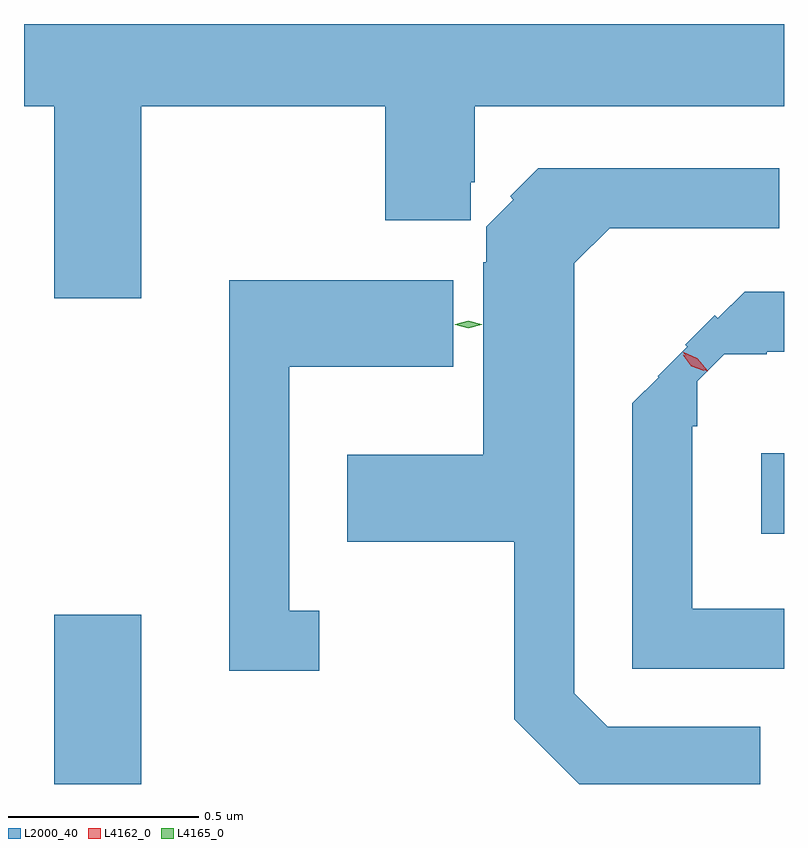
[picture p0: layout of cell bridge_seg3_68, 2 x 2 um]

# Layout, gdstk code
import gdstk
lib = gdstk.Library(unit=1e-6, precision=1e-09)
def R(c, l, rs):  # rectangles x0, y0, x1, y1
    for r in rs: c.add(gdstk.rectangle(r[:2], r[2:], *l))
def P(c, l, *ps):  # polygons
    for p in ps: c.add(gdstk.Polygon(p, *l))
L2000_40 = (2000, 40)
L4162_0 = (4162, 0)
L4165_0 = (4165, 0)

bridge_seg3_68 = lib.new_cell('bridge_seg3_68')
R(bridge_seg3_68, L2000_40, [(1138.561,1181.953,1138.789,1182.399), (1140.421,1182.611,1140.481,1182.824)])
P(bridge_seg3_68, L2000_40, [(1138.789,1183.736),(1139.431,1183.736),(1139.431,1183.437),(1139.657,1183.437),(1139.657,1183.537),(1139.667,1183.537),(1139.667,1183.736),(1140.481,1183.736),(1140.481,1183.953),(1138.481,1183.953),(1138.481,1183.736),(1138.561,1183.736),(1138.561,1183.231),(1138.789,1183.231)],
  [(1140.418,1182.104),(1140.017,1182.104),(1139.929,1182.192),(1139.929,1183.324),(1140.022,1183.416),(1140.468,1183.416),(1140.468,1183.574),(1139.834,1183.574),(1139.76,1183.5),(1139.769,1183.491),(1139.698,1183.42),(1139.698,1183.326),(1139.69,1183.326),(1139.69,1182.819),(1139.331,1182.819),(1139.331,1182.591),(1139.771,1182.591),(1139.771,1182.124),(1139.942,1181.953),(1140.418,1181.953)],
  [(1139.258,1182.409),(1139.179,1182.409),(1139.179,1183.051),(1139.61,1183.051),(1139.61,1183.279),(1139.021,1183.279),(1139.021,1182.251),(1139.258,1182.251)],
  [(1140.481,1182.414),(1140.239,1182.414),(1140.239,1182.895),(1140.253,1182.895),(1140.253,1183.013),(1140.324,1183.084),(1140.435,1183.084),(1140.435,1183.091),(1140.481,1183.091),(1140.481,1183.249),(1140.378,1183.249),(1140.307,1183.179),(1140.299,1183.187),(1140.221,1183.109),(1140.227,1183.104),(1140.149,1183.026),(1140.151,1183.024),(1140.081,1182.955),(1140.081,1182.256),(1140.481,1182.256)])
P(bridge_seg3_68, L4162_0, [(1140.279,1183.039),(1140.241,1183.057),(1140.214,1183.09),(1140.214,1183.091),(1140.215,1183.091),(1140.253,1183.073),(1140.28,1183.04),(1140.28,1183.039)],
  [(1140.27,1183.04),(1140.237,1183.053),(1140.216,1183.081),(1140.216,1183.082),(1140.216,1183.082),(1140.25,1183.068),(1140.271,1183.04),(1140.271,1183.04)])
P(bridge_seg3_68, L4165_0, [(1139.65,1183.152),(1139.616,1183.162),(1139.615,1183.162),(1139.616,1183.163),(1139.65,1183.172),(1139.685,1183.163),(1139.686,1183.162),(1139.685,1183.162)],
  [(1139.65,1183.152),(1139.618,1183.162),(1139.617,1183.162),(1139.618,1183.163),(1139.65,1183.172),(1139.683,1183.163),(1139.684,1183.162),(1139.683,1183.162)])

lib.write_gds('bridge_seg3_68.gds')
